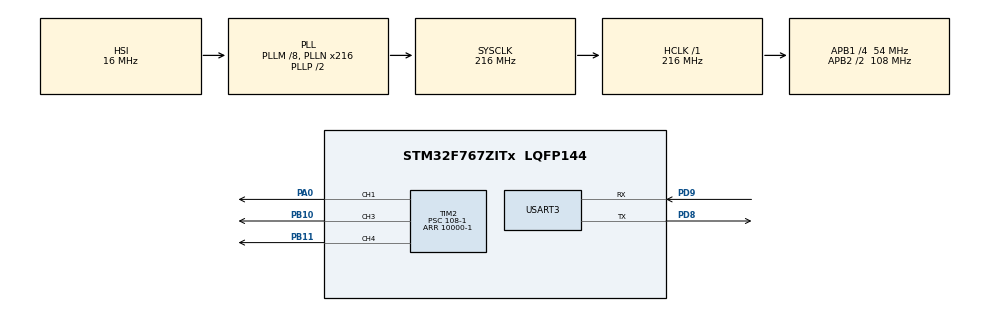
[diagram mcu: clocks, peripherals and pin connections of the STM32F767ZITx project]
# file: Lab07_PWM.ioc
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Mcu.Family=STM32F7
Mcu.Name=STM32F767ZITx
Mcu.Package=LQFP144
NVIC.PriorityGroup=NVIC_PRIORITYGROUP_4
PA0/WKUP.GPIO_Speed=GPIO_SPEED_FREQ_VERY_HIGH
PA0/WKUP.Signal=S_TIM2_CH1_ETR
PB10.GPIO_Speed=GPIO_SPEED_FREQ_VERY_HIGH
PB10.Signal=S_TIM2_CH3
PB11.GPIO_Speed=GPIO_SPEED_FREQ_VERY_HIGH
PB11.Signal=S_TIM2_CH4
PD8.Mode=Asynchronous
PD8.Signal=USART3_TX
PD9.Mode=Asynchronous
PD9.Signal=USART3_RX
ProjectManager.HeapSize=0x200
ProjectManager.StackSize=0x400
ProjectManager.TargetToolchain=MDK-ARM V5.27
RCC.AHBFreq_Value=216000000
RCC.APB1CLKDivider=RCC_HCLK_DIV4
RCC.APB1Freq_Value=54000000
RCC.APB1TimFreq_Value=108000000
RCC.APB2CLKDivider=RCC_HCLK_DIV2
RCC.APB2Freq_Value=108000000
RCC.APB2TimFreq_Value=216000000
RCC.CortexFreq_Value=216000000
RCC.HCLKFreq_Value=216000000
RCC.HSE_VALUE=25000000
RCC.HSI_VALUE=16000000
RCC.LSE_VALUE=32768
RCC.PLLM=8
RCC.PLLN=216
RCC.SYSCLKFreq_VALUE=216000000
RCC.SYSCLKSource=RCC_SYSCLKSOURCE_PLLCLK
RCC.USBFreq_Value=216000000
RCC.VCOOutputFreq_Value=432000000
SH.S_TIM2_CH1_ETR.0=TIM2_CH1,PWM Generation1 CH1
SH.S_TIM2_CH3.0=TIM2_CH3,PWM Generation3 CH3
SH.S_TIM2_CH4.0=TIM2_CH4,PWM Generation4 CH4
TIM2.Channel-PWM\ Generation1\ CH1=TIM_CHANNEL_1
TIM2.Channel-PWM\ Generation3\ CH3=TIM_CHANNEL_3
TIM2.Channel-PWM\ Generation4\ CH4=TIM_CHANNEL_4
TIM2.OCMode_PWM-PWM\ Generation3\ CH3=TIM_OCMODE_PWM1
TIM2.Period=10000-1
TIM2.Prescaler=108-1
TIM2.Pulse-PWM\ Generation3\ CH3=0
USART3.VirtualMode-Asynchronous=VM_ASYNC
VP_TIM2_VS_ClockSourceINT.Mode=Internal
board=custom

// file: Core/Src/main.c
/* USER CODE BEGIN Header */
/**
  ******************************************************************************
  * @file           : main.c
  * @brief          : Main program body
  ******************************************************************************
  * @attention
  *
  * <h2><center>&copy; Copyright (c) 2020 STMicroelectronics.
  * All rights reserved.</center></h2>
  *
  * This software component is licensed by ST under BSD 3-Clause license,
  * the "License"; You may not use this file except in compliance with the
  * License. You may obtain a copy of the License at:
  *                        opensource.org/licenses/BSD-3-Clause
  *
  ******************************************************************************
  */
/* USER CODE END Header */
#include "main.h"
#include "tim.h"
#include "usart.h"
#include "gpio.h"

/* USER CODE BEGIN PV */
uint8_t pwm;
/* USER CODE END PV */

void SystemClock_Config(void);

int main(void)
{

  /* MCU Configuration--------------------------------------------------------*/

  /* Reset of all peripherals, Initializes the Flash interface and the Systick. */
  HAL_Init();

  /* Configure the system clock */
  SystemClock_Config();

  /* Initialize all configured peripherals */
  MX_GPIO_Init();
  MX_TIM2_Init();
  MX_USART3_UART_Init();
  /* USER CODE BEGIN 2 */
	float dutyCycle = 2.0;

	uint8_t PWM[3] = {0 , 0, 0};
  /* USER CODE END 2 */

  /* Infinite loop */
  /* USER CODE BEGIN WHILE */
  while (1)
  {
		#if 0
		HAL_TIM_PWM_Start(&htim2, TIM_CHANNEL_3);
		HAL_Delay(100);
		HAL_TIM_PWM_Stop(&htim2, TIM_CHANNEL_3);
		pwm = (GPIOB->IDR & GPIO_PIN_10) >>10;
		#endif
		#if 0
		htim2.Instance -> CCR3 = (10000-1) * dutyCycle;
		HAL_TIM_PWM_Start(&htim2, TIM_CHANNEL_3);
		HAL_Delay(100);
		HAL_TIM_PWM_Stop(&htim2, TIM_CHANNEL_3);
		pwm = (GPIOB->IDR & GPIO_PIN_10) >>10;
		#endif
		uint8_t buff[2];
		if (HAL_UART_Receive(&huart3, buff, 1, 1000) != HAL_TIMEOUT) {
			switch(buff[0]) {
				case 'r': {
					PWM[0]++;
					if (PWM[0] == 6) PWM[0] = 0;
					HAL_TIM_PWM_Stop(&htim2, TIM_CHANNEL_1);
					htim2.Instance -> CCR1 = (10000-1) * PWM[0] * 0.2;
					HAL_TIM_PWM_Start(&htim2, TIM_CHANNEL_1);
				}
				break;
				case 'g': {
					PWM[1]++;
					if (PWM[1] == 6) PWM[1] = 0;
					HAL_TIM_PWM_Stop(&htim2, TIM_CHANNEL_3);
					htim2.Instance -> CCR3 = (10000-1) * PWM[1] * 0.2;
					HAL_TIM_PWM_Start(&htim2, TIM_CHANNEL_3);
				}
				break;
				case 'b': {
					PWM[2]++;
					if (PWM[2] == 6) PWM[2] = 0;
					HAL_TIM_PWM_Stop(&htim2, TIM_CHANNEL_4);
					htim2.Instance -> CCR4 = (10000-1) * PWM[2] * 0.2;
					HAL_TIM_PWM_Start(&htim2, TIM_CHANNEL_4);
				}
				break;
			}
		}
    /* USER CODE END WHILE */

  }
}

void SystemClock_Config(void)
{
  RCC_OscInitTypeDef RCC_OscInitStruct = {0};
  RCC_ClkInitTypeDef RCC_ClkInitStruct = {0};
  RCC_PeriphCLKInitTypeDef PeriphClkInitStruct = {0};

  /** Configure the main internal regulator output voltage
  */
  __HAL_RCC_PWR_CLK_ENABLE();
  __HAL_PWR_VOLTAGESCALING_CONFIG(PWR_REGULATOR_VOLTAGE_SCALE1);
  /** Initializes the RCC Oscillators according to the specified parameters
  * in the RCC_OscInitTypeDef structure.
  */
  RCC_OscInitStruct.OscillatorType = RCC_OSCILLATORTYPE_HSI;
  RCC_OscInitStruct.HSIState = RCC_HSI_ON;
  RCC_OscInitStruct.HSICalibrationValue = RCC_HSICALIBRATION_DEFAULT;
  RCC_OscInitStruct.PLL.PLLState = RCC_PLL_ON;
  RCC_OscInitStruct.PLL.PLLSource = RCC_PLLSOURCE_HSI;
  RCC_OscInitStruct.PLL.PLLM = 8;
  RCC_OscInitStruct.PLL.PLLN = 216;
  RCC_OscInitStruct.PLL.PLLP = RCC_PLLP_DIV2;
  RCC_OscInitStruct.PLL.PLLQ = 2;
  if (HAL_RCC_OscConfig(&RCC_OscInitStruct) != HAL_OK)
  {
    Error_Handler();
  }
  /** Activate the Over-Drive mode
  */
  if (HAL_PWREx_EnableOverDrive() != HAL_OK)
  {
    Error_Handler();
  }
  /** Initializes the CPU, AHB and APB buses clocks
  */
  RCC_ClkInitStruct.ClockType = RCC_CLOCKTYPE_HCLK|RCC_CLOCKTYPE_SYSCLK
                              |RCC_CLOCKTYPE_PCLK1|RCC_CLOCKTYPE_PCLK2;
  RCC_ClkInitStruct.SYSCLKSource = RCC_SYSCLKSOURCE_PLLCLK;
  RCC_ClkInitStruct.AHBCLKDivider = RCC_SYSCLK_DIV1;
  RCC_ClkInitStruct.APB1CLKDivider = RCC_HCLK_DIV4;
  RCC_ClkInitStruct.APB2CLKDivider = RCC_HCLK_DIV2;

  if (HAL_RCC_ClockConfig(&RCC_ClkInitStruct, FLASH_LATENCY_7) != HAL_OK)
  {
    Error_Handler();
  }
  PeriphClkInitStruct.PeriphClockSelection = RCC_PERIPHCLK_USART3;
  PeriphClkInitStruct.Usart3ClockSelection = RCC_USART3CLKSOURCE_PCLK1;
  if (HAL_RCCEx_PeriphCLKConfig(&PeriphClkInitStruct) != HAL_OK)
  {
    Error_Handler();
  }
}

void Error_Handler(void)
{
}

/************************ (C) COPYRIGHT STMicroelectronics *****END OF FILE****/
